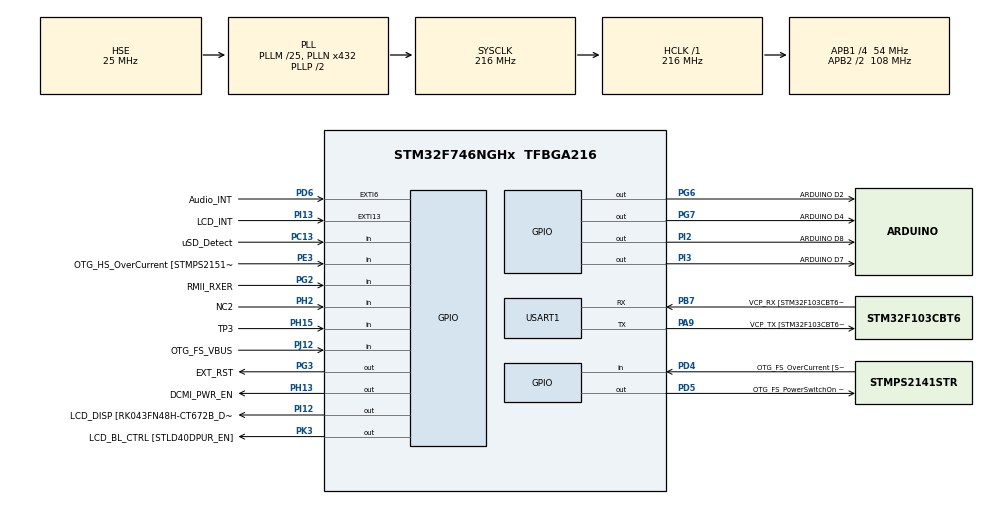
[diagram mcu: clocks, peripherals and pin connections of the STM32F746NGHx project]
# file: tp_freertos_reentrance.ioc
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FREERTOS.Tasks01=defaultTask,0,128,StartDefaultTask,Default,NULL,Dynamic,NULL,NULL
FREERTOS.configTOTAL_HEAP_SIZE=15300
Mcu.Family=STM32F7
Mcu.Name=STM32F746NGHx
Mcu.Package=TFBGA216
NVIC.PriorityGroup=NVIC_PRIORITYGROUP_4
PA0/WKUP.GPIO_Label=ARDUINO A0
PA0/WKUP.GPIO_Mode=GPIO_MODE_ANALOG
PA0/WKUP.GPIO_PuPd=GPIO_NOPULL
PA0/WKUP.Signal=ADCx_IN0
PA1.GPIO_Label=RMII_REF_CLK [LAN8742A-CZ-TR_REFCLK0]
PA1.Signal=ETH_REF_CLK
PA10.GPIO_Label=OTG_FS_ID
PA10.Signal=USB_OTG_FS_ID
PA11.GPIO_Label=OTG_FS_N
PA11.Signal=USB_OTG_FS_DM
PA12.GPIO_Label=OTG_FS_P
PA12.Signal=USB_OTG_FS_DP
PA13.GPIO_Label=SWDIO
PA13.Mode=Serial_Wire
PA13.Signal=SYS_JTMS-SWDIO
PA14.GPIO_Label=SWCLK
PA14.Mode=Serial_Wire
PA14.Signal=SYS_JTCK-SWCLK
PA15.GPIO_Label=ARDUINO PWM/D9
PA15.GPIO_ModeDefaultPP=GPIO_MODE_AF_PP
PA15.GPIO_PuPd=GPIO_NOPULL
PA15.GPIO_Speed=GPIO_SPEED_FREQ_LOW
PA15.Signal=S_TIM2_CH1_ETR
PA2.GPIO_Label=RMII_MDIO [LAN8742A-CZ-TR_MDIO]
PA2.Signal=ETH_MDIO
PA3.GPIO_Label=ULPI_D0 [USB3320C-EZK_D0]
PA3.Signal=USB_OTG_HS_ULPI_D0
PA4.GPIO_Label=DCMI_HSYNC
PA4.Signal=DCMI_HSYNC
PA5.GPIO_Label=ULPI_CLK [USB3320C-EZK_CLKOUT]
PA5.Signal=USB_OTG_HS_ULPI_CK
PA6.Signal=DCMI_PIXCLK
PA7.GPIO_Label=RMII_CRS_DV [LAN8742A-CZ-TR_CRS_DV]
PA7.Signal=ETH_CRS_DV
PA8.GPIO_Label=ARDUINO PWM/D10
PA8.GPIO_ModeDefaultPP=GPIO_MODE_AF_PP
PA8.GPIO_PuPd=GPIO_NOPULL
PA8.GPIO_Speed=GPIO_SPEED_FREQ_LOW
PA8.Signal=S_TIM1_CH1
PA9.GPIO_Label=VCP_TX [STM32F103CBT6_PA3]
PA9.GPIO_Mode=GPIO_MODE_AF_PP
PA9.GPIO_PuPd=GPIO_NOPULL
PA9.GPIO_Speed=GPIO_SPEED_FREQ_LOW
PA9.Mode=Asynchronous
PA9.Signal=USART1_TX
PB0.GPIO_Label=ULPI_D1 [USB3320C-EZK_D1]
PB0.Signal=USB_OTG_HS_ULPI_D1
PB1.GPIO_Label=ULPI_D2 [USB3320C-EZK_D2]
PB1.Signal=USB_OTG_HS_ULPI_D2
PB10.GPIO_Label=ULPI_D3 [USB3320C-EZK_D3]
PB10.Signal=USB_OTG_HS_ULPI_D3
PB11.GPIO_Label=ULPI_D4 [USB3320C-EZK_D4]
PB11.Signal=USB_OTG_HS_ULPI_D4
PB12.GPIO_Label=ULPI_D5 [USB3320C-EZK_D5]
PB12.Signal=USB_OTG_HS_ULPI_D5
PB13.GPIO_Label=ULPI_D6 [USB3320C-EZK_D6]
PB13.Signal=USB_OTG_HS_ULPI_D6
PB14.GPIO_Label=ARDUINO MISO/D12
PB14.GPIO_Mode=GPIO_MODE_AF_PP
PB14.GPIO_PuPd=GPIO_NOPULL
PB14.GPIO_Speed=GPIO_SPEED_FREQ_LOW
PB14.Signal=SPI2_MISO
PB15.GPIO_Label=ARDUINO MOSI/PWM/D11
PB15.GPIO_Mode=GPIO_MODE_AF_PP
PB15.GPIO_PuPd=GPIO_NOPULL
PB15.GPIO_Speed=GPIO_SPEED_FREQ_LOW
PB15.Signal=SPI2_MOSI
PB2.Signal=QUADSPI_CLK
PB3.GPIO_Label=SWO
PB3.Signal=SYS_JTDO-SWO
PB4.GPIO_Label=ARDUINO PWM/D3
PB4.GPIO_ModeDefaultPP=GPIO_MODE_AF_PP
PB4.GPIO_PuPd=GPIO_NOPULL
PB4.GPIO_Speed=GPIO_SPEED_FREQ_LOW
PB4.Signal=S_TIM3_CH1
PB5.GPIO_Label=ULPI_D7 [USB3320C-EZK_D7]
PB5.Signal=USB_OTG_HS_ULPI_D7
PB6.GPIO_Label=QSPI_NCS [N25Q128A13EF840E_S]
PB6.Signal=QUADSPI_BK1_NCS
PB7.GPIO_Label=VCP_RX [STM32F103CBT6_PA2]
PB7.GPIO_Mode=GPIO_MODE_AF_PP
PB7.GPIO_PuPd=GPIO_NOPULL
PB7.GPIO_Speed=GPIO_SPEED_FREQ_LOW
PB7.Mode=Asynchronous
PB7.Signal=USART1_RX
PB8.GPIO_Label=ARDUINO SCL/D15
PB8.GPIO_Mode=GPIO_MODE_AF_OD
PB8.GPIO_PuPd=GPIO_NOPULL
PB8.GPIO_Speed=GPIO_SPEED_FREQ_LOW
PB8.Signal=I2C1_SCL
PB9.GPIO_Label=ARDUINO SDA/D14
PB9.GPIO_Mode=GPIO_MODE_AF_OD
PB9.GPIO_PuPd=GPIO_NOPULL
PB9.GPIO_Speed=GPIO_SPEED_FREQ_LOW
PB9.Signal=I2C1_SDA
PC0.GPIO_Label=ULPI_STP [USB3320C-EZK_STP]
PC0.Signal=USB_OTG_HS_ULPI_STP
PC1.GPIO_Label=RMII_MDC [LAN8742A-CZ-TR_MDC]
PC1.Signal=ETH_MDC
PC10.GPIO_Label=SDMMC_D2
PC10.Signal=SDMMC1_D2
PC11.GPIO_Label=SDMMC_D3
PC11.Signal=SDMMC1_D3
PC12.GPIO_Label=SDMMC_CK
PC12.Signal=SDMMC1_CK
PC13.GPIO_Label=uSD_Detect
PC13.Signal=GPIO_Input
PC14/OSC32_IN.GPIO_Label=RCC_OSC32_IN
PC14/OSC32_IN.Signal=RCC_OSC32_IN
PC15/OSC32_OUT.GPIO_Label=RCC_OSC32_OUT
PC15/OSC32_OUT.Signal=RCC_OSC32_OUT
PC2.GPIO_Label=ULPI_DIR [USB3320C-EZK_DIR]
PC2.Signal=USB_OTG_HS_ULPI_DIR
PC3.GPIO_Label=FMC_SDCKE0 [MT48LC4M32B2B5-6A_CKE]
PC3.Signal=FMC_SDCKE0
PC4.GPIO_Label=RMII_RXD0 [LAN8742A-CZ-TR_RXD0]
PC4.Signal=ETH_RXD0
PC5.GPIO_Label=RMII_RXD1 [LAN8742A-CZ-TR_RXD1]
PC5.Signal=ETH_RXD1
PC6.GPIO_Label=ARDUINO TX/D1
PC6.Signal=USART6_TX
PC7.GPIO_Label=ARDUINO RX/D0
PC7.Signal=USART6_RX
PC8.Signal=SDMMC1_D0
PC9.Signal=SDMMC1_D1
PD0.GPIO_Label=FMC_D2 [MT48LC4M32B2B5-6A_DQ2]
PD0.Signal=FMC_D2_DA2
PD1.GPIO_Label=FMC_D3 [MT48LC4M32B2B5-6A_DQ3]
PD1.Signal=FMC_D3_DA3
PD10.GPIO_Label=FMC_D15 [MT48LC4M32B2B5-6A_DQ15]
PD10.Signal=FMC_D15_DA15
PD11.GPIO_Label=QSPI_D0 [N25Q128A13EF840E_DQ0]
PD11.Signal=QUADSPI_BK1_IO0
PD12.GPIO_Label=QSPI_D1 [N25Q128A13EF840E_DQ1]
PD12.Signal=QUADSPI_BK1_IO1
PD13.GPIO_Label=QSPI_D3 [N25Q128A13EF840E_DQ3]
PD13.Signal=QUADSPI_BK1_IO3
PD14.GPIO_Label=FMC_D0 [MT48LC4M32B2B5-6A_DQ0]
PD14.Signal=FMC_D0_DA0
PD15.GPIO_Label=FMC_D1 [MT48LC4M32B2B5-6A_DQ1]
PD15.Signal=FMC_D1_DA1
PD2.GPIO_Label=SDMMC_D0
PD2.Signal=SDMMC1_CMD
PD3.GPIO_Label=DCMI_D5
PD3.Signal=DCMI_D5
PD4.GPIO_Label=OTG_FS_OverCurrent [STMPS2141STR_Fault]
PD4.Signal=GPIO_Input
PD5.GPIO_Label=OTG_FS_PowerSwitchOn [STMPS2141STR_EN]
PD5.PinState=GPIO_PIN_SET
PD5.Signal=GPIO_Output
PD6.GPIO_Label=Audio_INT
PD6.GPIO_ModeDefaultEXTI=GPIO_MODE_EVT_RISING
PD6.Signal=GPXTI6
PD7.GPIO_Label=SPDIF_RX0 [74LVC1G04SE_4]
PD7.Signal=SPDIFRX_IN0
PD8.GPIO_Label=FMC_D13 [MT48LC4M32B2B5-6A_DQ13]
PD8.Signal=FMC_D13_DA13
PD9.GPIO_Label=FMC_D14 [MT48LC4M32B2B5-6A_DQ14]
PD9.Signal=FMC_D14_DA14
PE0.GPIO_Label=FMC_NBL0 [MT48LC4M32B2B5-6A_DQM0]
PE0.Signal=FMC_NBL0
PE1.GPIO_Label=FMC_NBL1 [MT48LC4M32B2B5-6A_DQM1]
PE1.Signal=FMC_NBL1
PE10.GPIO_Label=FMC_D7 [MT48LC4M32B2B5-6A_DQ7]
PE10.Signal=FMC_D7_DA7
PE11.GPIO_Label=FMC_D8 [MT48LC4M32B2B5-6A_DQ8]
PE11.Signal=FMC_D8_DA8
PE12.GPIO_Label=FMC_D9 [MT48LC4M32B2B5-6A_DQ9]
PE12.Signal=FMC_D9_DA9
PE13.GPIO_Label=FMC_D10 [MT48LC4M32B2B5-6A_DQ10]
PE13.Signal=FMC_D10_DA10
PE14.GPIO_Label=FMC_D11 [MT48LC4M32B2B5-6A_DQ11]
PE14.Signal=FMC_D11_DA11
PE15.GPIO_Label=FMC_D12 [MT48LC4M32B2B5-6A_DQ12]
PE15.Signal=FMC_D12_DA12
PE2.GPIO_Label=QSPI_D2 [N25Q128A13EF840E_DQ2]
PE2.Signal=QUADSPI_BK1_IO2
PE3.GPIO_Label=OTG_HS_OverCurrent [STMPS2151STR_FAULT]
PE3.Signal=GPIO_Input
PE4.GPIO_Label=LCD_B0 [RK043FN48H-CT672B_B0]
PE4.Signal=LTDC_B0
PE5.GPIO_Label=DCMI_D6
PE5.Signal=DCMI_D6
PE6.GPIO_Label=DCMI_D7
PE6.Signal=DCMI_D7
PE7.GPIO_Label=FMC_D4 [MT48LC4M32B2B5-6A_DQ4]
PE7.Signal=FMC_D4_DA4
PE8.GPIO_Label=FMC_D5 [MT48LC4M32B2B5-6A_DQ5]
PE8.Signal=FMC_D5_DA5
PE9.GPIO_Label=FMC_D6 [MT48LC4M32B2B5-6A_DQ6]
PE9.Signal=FMC_D6_DA6
PF0.GPIO_Label=FMC_A0 [MT48LC4M32B2B5-6A_A0]
PF0.Signal=FMC_A0
PF1.GPIO_Label=FMC_A1 [MT48LC4M32B2B5-6A_A1]
PF1.Signal=FMC_A1
PF10.GPIO_Label=ARDUINO A1
PF10.GPIO_Mode=GPIO_MODE_ANALOG
PF10.GPIO_PuPd=GPIO_NOPULL
PF10.Signal=ADC3_IN8
PF11.GPIO_Label=FMC_SDNRAS [MT48LC4M32B2B5-6A_RAS]
PF11.Signal=FMC_SDNRAS
PF12.GPIO_Label=FMC_A6 [MT48LC4M32B2B5-6A_A6]
PF12.Signal=FMC_A6
PF13.GPIO_Label=FMC_A7 [MT48LC4M32B2B5-6A_A7]
PF13.Signal=FMC_A7
PF14.GPIO_Label=FMC_A8 [MT48LC4M32B2B5-6A_A8]
PF14.Signal=FMC_A8
PF15.GPIO_Label=FMC_A9 [MT48LC4M32B2B5-6A_A9]
PF15.Signal=FMC_A9
PF2.GPIO_Label=FMC_A2 [MT48LC4M32B2B5-6A_A2]
PF2.Signal=FMC_A2
PF3.GPIO_Label=FMC_A3 [MT48LC4M32B2B5-6A_A3]
PF3.Signal=FMC_A3
PF4.GPIO_Label=FMC_A4 [MT48LC4M32B2B5-6A_A4]
PF4.Signal=FMC_A4
PF5.GPIO_Label=FMC_A5 [MT48LC4M32B2B5-6A_A5]
PF5.Signal=FMC_A5
PF6.GPIO_Label=ARDUINO A5
PF6.GPIO_Mode=GPIO_MODE_ANALOG
PF6.GPIO_PuPd=GPIO_NOPULL
PF6.Signal=ADC3_IN4
PF7.GPIO_Label=ARDUINO A4
PF7.GPIO_Mode=GPIO_MODE_ANALOG
PF7.GPIO_PuPd=GPIO_NOPULL
PF7.Signal=ADC3_IN5
PF8.GPIO_Label=ARDUINO A3
PF8.GPIO_Mode=GPIO_MODE_ANALOG
PF8.GPIO_PuPd=GPIO_NOPULL
PF8.Signal=ADC3_IN6
PF9.GPIO_Label=ARDUINO A2
PF9.GPIO_Mode=GPIO_MODE_ANALOG
PF9.GPIO_PuPd=GPIO_NOPULL
PF9.Signal=ADC3_IN7
PG0.GPIO_Label=FMC_A10 [MT48LC4M32B2B5-6A_A10]
PG0.Signal=FMC_A10
PG1.GPIO_Label=FMC_A11 [MT48LC4M32B2B5-6A_A11]
PG1.Signal=FMC_A11
PG10.GPIO_Label=SAI2_SDB [WM8994ECS/R_ADCDAT1]
PG10.Signal=SAI2_SD_B
PG11.GPIO_Label=RMII_TX_EN [LAN8742A-CZ-TR_TXEN]
PG11.Signal=ETH_TX_EN
PG12.GPIO_Label=LCD_B4 [RK043FN48H-CT672B_B4]
PG12.Signal=LTDC_B4
PG13.GPIO_Label=RMII_TXD0 [LAN8742A-CZ-TR_TXD0]
PG13.Signal=ETH_TXD0
PG14.GPIO_Label=RMII_TXD1 [LAN8742A-CZ-TR_TXD1]
PG14.Signal=ETH_TXD1
PG15.GPIO_Label=FMC_SDNCAS [MT48LC4M32B2B5-6A_CAS]
PG15.Signal=FMC_SDNCAS
PG2.GPIO_Label=RMII_RXER
PG2.Signal=GPIO_Input
PG3.GPIO_Label=EXT_RST
PG3.Signal=GPIO_Output
PG4.GPIO_Label=FMC_BA0 [MT48LC4M32B2B5-6A_BA0]
PG4.Signal=FMC_A14_BA0
PG5.GPIO_Label=FMC_BA1 [MT48LC4M32B2B5-6A_BA1]
PG5.Signal=FMC_A15_BA1
PG6.GPIO_Label=ARDUINO D2
PG6.Signal=GPIO_Output
PG7.GPIO_Label=ARDUINO D4
PG7.Signal=GPIO_Output
PG8.GPIO_Label=FMC_SDCLK [MT48LC4M32B2B5-6A_CLK]
PG8.Signal=FMC_SDCLK
PG9.GPIO_Label=DCMI_VSYNC
PG9.Signal=DCMI_VSYNC
PH0/OSC_IN.GPIO_Label=OSC_25M [NZ2520SB-25.00M_OUT]
PH0/OSC_IN.Mode=HSE-External-Oscillator
PH0/OSC_IN.Signal=RCC_OSC_IN
PH1/OSC_OUT.Mode=HSE-External-Oscillator
PH1/OSC_OUT.Signal=RCC_OSC_OUT
PH10.GPIO_Label=DCMI_D1
PH10.Signal=DCMI_D1
PH11.GPIO_Label=DCMI_D2
PH11.Signal=DCMI_D2
PH12.GPIO_Label=DCMI_D3
PH12.Signal=DCMI_D3
PH13.GPIO_Label=DCMI_PWR_EN
PH13.Signal=GPIO_Output
PH14.GPIO_Label=DCMI_D4
PH14.Signal=DCMI_D4
PH15.GPIO_Label=TP3
PH15.Signal=GPIO_Input
PH2.GPIO_Label=NC2
PH2.Signal=GPIO_Input
PH3.GPIO_Label=FMC_SDNE0 [MT48LC4M32B2B5-6A_CS]
PH3.Signal=FMC_SDNE0
PH4.GPIO_Label=ULPI_NXT [USB3320C-EZK_NXT]
PH4.Signal=USB_OTG_HS_ULPI_NXT
PH5.GPIO_Label=FMC_SDNME [MT48LC4M32B2B5-6A_WE]
PH5.Signal=FMC_SDNWE
PH6.GPIO_Label=ARDUINO PWM/D6
PH6.Signal=S_TIM12_CH1
PH7.GPIO_Label=LCD_SCL [RK043FN48H-CT672B_SCL]
PH7.Signal=I2C3_SCL
PH8.GPIO_Label=LCD_SDA [RK043FN48H-CT672B_SDA]
PH8.Signal=I2C3_SDA
PH9.GPIO_Label=DCMI_D0
PH9.Signal=DCMI_D0
PI0.GPIO_Label=ARDUINO PWM/CS/D5
PI0.GPIO_ModeDefaultPP=GPIO_MODE_AF_PP
PI0.GPIO_PuPd=GPIO_NOPULL
PI0.GPIO_Speed=GPIO_SPEED_FREQ_LOW
PI0.Signal=S_TIM5_CH4
PI1.GPIO_Label=ARDUINO SCK/D13
PI1.GPIO_Mode=GPIO_MODE_AF_PP
PI1.GPIO_PuPd=GPIO_NOPULL
PI1.GPIO_Speed=GPIO_SPEED_FREQ_LOW
PI1.Signal=SPI2_SCK
PI10.GPIO_Label=LCD_HSYNC [RK043FN48H-CT672B_HSYNC]
PI10.Signal=LTDC_HSYNC
PI12.GPIO_Label=LCD_DISP [RK043FN48H-CT672B_DISP] 
PI12.Signal=GPIO_Output
PI13.GPIO_Label=LCD_INT
PI13.GPIO_ModeDefaultEXTI=GPIO_MODE_EVT_RISING
PI13.Signal=GPXTI13
PI14.GPIO_Label=LCD_CLK [RK043FN48H-CT672B_CLK]
PI14.Signal=LTDC_CLK
PI15.GPIO_Label=LCD_R0 [RK043FN48H-CT672B_R0]
PI15.Signal=LTDC_R0
PI2.GPIO_Label=ARDUINO D8
PI2.Signal=GPIO_Output
PI3.GPIO_Label=ARDUINO D7
PI3.Signal=GPIO_Output
PI4.GPIO_Label=SAI2_MCLKA [WM8994ECS/R_MCLK1]
PI4.Signal=SAI2_MCLK_A
PI5.GPIO_Label=SAI2_SCKA [WM8994ECS/R_BCLK1]
PI5.Signal=SAI2_SCK_A
PI6.GPIO_Label=SAI2_SDA [WM8994ECS/R_DACDAT1]
PI6.Signal=SAI2_SD_A
PI7.GPIO_Label=SAI2_FSA [WM8994ECS/R_LRCLK1]
PI7.Signal=SAI2_FS_A
PI8.GPIO_Label=NC1 [TP2]
PI8.Signal=RTC_TS
PI9.GPIO_Label=LCD_VSYNC [RK043FN48H-CT672B_VSYNC]
PI9.Signal=LTDC_VSYNC
PJ0.GPIO_Label=LCD_R1 [RK043FN48H-CT672B_R1]
PJ0.Signal=LTDC_R1
PJ1.GPIO_Label=LCD_R2 [RK043FN48H-CT672B_R2]
PJ1.Signal=LTDC_R2
PJ10.GPIO_Label=LCD_G3 [RK043FN48H-CT672B_G3]
PJ10.Signal=LTDC_G3
PJ11.GPIO_Label=LCD_G4 [RK043FN48H-CT672B_G4]
PJ11.Signal=LTDC_G4
PJ12.GPIO_Label=OTG_FS_VBUS
PJ12.Signal=GPIO_Input
PJ13.GPIO_Label=LCD_B1 [RK043FN48H-CT672B_B1]
PJ13.Signal=LTDC_B1
PJ14.GPIO_Label=LCD_B2 [RK043FN48H-CT672B_B2]
PJ14.Signal=LTDC_B2
PJ15.GPIO_Label=LCD_B3 [RK043FN48H-CT672B_B3]
PJ15.Signal=LTDC_B3
PJ2.GPIO_Label=LCD_R3 [RK043FN48H-CT672B_R3]
PJ2.Signal=LTDC_R3
PJ3.GPIO_Label=LCD_R4 [RK043FN48H-CT672B_R4]
PJ3.Signal=LTDC_R4
PJ4.GPIO_Label=LCD_R5 [RK043FN48H-CT672B_R5]
PJ4.Signal=LTDC_R5
PJ5.GPIO_Label=LCD_R6 [RK043FN48H-CT672B_R6]
PJ5.Signal=LTDC_R6
PJ6.GPIO_Label=LCD_R7 [RK043FN48H-CT672B_R7]
PJ6.Signal=LTDC_R7
PJ7.GPIO_Label=LCD_G0 [RK043FN48H-CT672B_G0]
PJ7.Signal=LTDC_G0
PJ8.GPIO_Label=LCD_G1 [RK043FN48H-CT672B_G1]
PJ8.Signal=LTDC_G1
PJ9.GPIO_Label=LCD_G2 [RK043FN48H-CT672B_G2]
PJ9.Signal=LTDC_G2
PK0.GPIO_Label=LCD_G5 [RK043FN48H-CT672B_G5]
PK0.Signal=LTDC_G5
PK1.GPIO_Label=LCD_G6 [RK043FN48H-CT672B_G6]
PK1.Signal=LTDC_G6
PK2.GPIO_Label=LCD_G7 [RK043FN48H-CT672B_G7]
PK2.Signal=LTDC_G7
PK3.GPIO_Label=LCD_BL_CTRL [STLD40DPUR_EN]
PK3.Signal=GPIO_Output
PK4.GPIO_Label=LCD_B5 [RK043FN48H-CT672B_B5]
PK4.Signal=LTDC_B5
PK5.GPIO_Label=LCD_B6 [RK043FN48H-CT672B_B6]
PK5.Signal=LTDC_B6
PK6.GPIO_Label=LCD_B7 [RK043FN48H-CT672B_B7]
PK6.Signal=LTDC_B7
PK7.GPIO_Label=LCD_DE [RK043FN48H-CT672B_DE]
PK7.Signal=LTDC_DE
ProjectManager.HeapSize=0x200
ProjectManager.StackSize=0x400
ProjectManager.TargetToolchain=STM32CubeIDE
RCC.AHBFreq_Value=216000000
RCC.APB1CLKDivider=RCC_HCLK_DIV4
RCC.APB1Freq_Value=54000000
RCC.APB1TimFreq_Value=108000000
RCC.APB2CLKDivider=RCC_HCLK_DIV2
RCC.APB2Freq_Value=108000000
RCC.APB2TimFreq_Value=216000000
RCC.CortexFreq_Value=216000000
RCC.HCLKFreq_Value=216000000
RCC.HSE_VALUE=25000000
RCC.HSI_VALUE=16000000
RCC.LSE_VALUE=32768
RCC.PLLM=25
RCC.PLLN=432
RCC.PLLSourceVirtual=RCC_PLLSOURCE_HSE
RCC.SYSCLKFreq_VALUE=216000000
RCC.SYSCLKSource=RCC_SYSCLKSOURCE_PLLCLK
RCC.USBFreq_Value=216000000
RCC.VCOOutputFreq_Value=432000000
SH.ADCx_IN0.0=ADC3_IN0
SH.FMC_A0.0=FMC_A0
SH.FMC_A1.0=FMC_A1
SH.FMC_A10.0=FMC_A10
SH.FMC_A11.0=FMC_A11
SH.FMC_A14_BA0.0=FMC_BA0
SH.FMC_A15_BA1.0=FMC_BA1
SH.FMC_A2.0=FMC_A2
SH.FMC_A3.0=FMC_A3
SH.FMC_A4.0=FMC_A4
SH.FMC_A5.0=FMC_A5
SH.FMC_A6.0=FMC_A6
SH.FMC_A7.0=FMC_A7
SH.FMC_A8.0=FMC_A8
SH.FMC_A9.0=FMC_A9
SH.FMC_D0_DA0.0=FMC_D0
SH.FMC_D10_DA10.0=FMC_D10
SH.FMC_D11_DA11.0=FMC_D11
SH.FMC_D12_DA12.0=FMC_D12
SH.FMC_D13_DA13.0=FMC_D13
SH.FMC_D14_DA14.0=FMC_D14
SH.FMC_D15_DA15.0=FMC_D15
SH.FMC_D1_DA1.0=FMC_D1
SH.FMC_D2_DA2.0=FMC_D2
SH.FMC_D3_DA3.0=FMC_D3
SH.FMC_D4_DA4.0=FMC_D4
SH.FMC_D5_DA5.0=FMC_D5
SH.FMC_D6_DA6.0=FMC_D6
SH.FMC_D7_DA7.0=FMC_D7
SH.FMC_D8_DA8.0=FMC_D8
SH.FMC_D9_DA9.0=FMC_D9
SH.FMC_NBL0.0=FMC_NBL0
SH.FMC_NBL1.0=FMC_NBL1
SH.FMC_SDCLK.0=FMC_SDCLK
SH.FMC_SDNCAS.0=FMC_SDNCAS
SH.FMC_SDNRAS.0=FMC_SDNRAS
SH.FMC_SDNWE.0=FMC_SDNWE
SH.S_TIM12_CH1.0=TIM12_CH1
SH.S_TIM1_CH1.0=TIM1_CH1
SH.S_TIM2_CH1_ETR.0=TIM2_CH1
SH.S_TIM3_CH1.0=TIM3_CH1
SH.S_TIM5_CH4.0=TIM5_CH4
USART1.VirtualMode-Asynchronous=VM_ASYNC
VP_FREERTOS_VS_CMSIS_V1.Mode=CMSIS_V1
board=STM32F746G-DISCO

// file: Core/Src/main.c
/* USER CODE BEGIN Header */
/**
 ******************************************************************************
 * @file           : main.c
 * @brief          : Main program body
 ******************************************************************************
 * @attention
 *
 * Copyright (c) 2022 STMicroelectronics.
 * All rights reserved.
 *
 * This software is licensed under terms that can be found in the LICENSE file
 * in the root directory of this software component.
 * If no LICENSE file comes with this software, it is provided AS-IS.
 *
 ******************************************************************************
 */
/* USER CODE END Header */
#include "main.h"
#include "cmsis_os.h"
#include "usart.h"
#include "gpio.h"

/* USER CODE BEGIN Includes */
#include <stdio.h>
/* USER CODE END Includes */

/* USER CODE BEGIN PD */
#define STACK_SIZE 256

#define TASK1_PRIORITY 1
#define TASK2_PRIORITY 2

#define TASK1_DELAY 1
#define TASK2_DELAY 2
SemaphoreHandle_t mutex = NULL;

/* USER CODE END PD */

void SystemClock_Config(void);
void MX_FREERTOS_Init(void);

/* USER CODE BEGIN 0 */
int __io_putchar(int ch)
{
	HAL_UART_Transmit(&huart1, (uint8_t *)&ch, 1, HAL_MAX_DELAY);
	return ch;
}

void task1(void * pvParameters)
{
	int delay = (int) pvParameters;

	for(;;)
	{
		if (xSemaphoreTake(mutex, portMAX_DELAY) == pdTRUE) {
			printf("Je suis la tache 1 et je m'endors pour %d ticks\r\n", delay);
			vTaskDelay(delay);
			xSemaphoreGive(mutex);
		}
	}
}

void task2(void * pvParameters)
{
	int delay = (int) pvParameters;

	for(;;)
	{
		if (xSemaphoreTake(mutex, portMAX_DELAY) == pdTRUE) {
			printf("Je suis la tache 2 et je m'endors pour %d ticks\r\n", delay);
			vTaskDelay(delay);
			xSemaphoreGive(mutex);
		}
	}
}
/* USER CODE END 0 */

int main(void)
{

	/* MCU Configuration--------------------------------------------------------*/

	/* Reset of all peripherals, Initializes the Flash interface and the Systick. */
	HAL_Init();

	/* Configure the system clock */
	SystemClock_Config();

	/* Initialize all configured peripherals */
	MX_GPIO_Init();
	MX_USART1_UART_Init();
	/* USER CODE BEGIN 2 */
	BaseType_t ret;
	TaskHandle_t h_task1 = NULL;
	TaskHandle_t h_task2 = NULL;

	/* Create the task, storing the handle. */
	mutex = xSemaphoreCreateMutex();
    if (mutex == NULL)
    {
        printf("Error Mutex\r\n");
		Error_Handler();
    }

	ret = xTaskCreate(task1, "Tache 1", STACK_SIZE, (void *) TASK1_DELAY, TASK1_PRIORITY, &h_task1);
	configASSERT(pdPASS == ret);
	ret = xTaskCreate(task2, "Tache 2", STACK_SIZE, (void *) TASK2_DELAY, TASK2_PRIORITY, &h_task2);
	configASSERT(pdPASS == ret);

	vTaskStartScheduler();
	/* USER CODE END 2 */

	/* Call init function for freertos objects (in freertos.c) */
	MX_FREERTOS_Init();

	/* Start scheduler */
	osKernelStart();

	/* We should never get here as control is now taken by the scheduler */
	/* Infinite loop */
	while (1)
	{

	}
}

void SystemClock_Config(void)
{
	RCC_OscInitTypeDef RCC_OscInitStruct = {0};
	RCC_ClkInitTypeDef RCC_ClkInitStruct = {0};

	/** Configure the main internal regulator output voltage
	 */
	__HAL_RCC_PWR_CLK_ENABLE();
	__HAL_PWR_VOLTAGESCALING_CONFIG(PWR_REGULATOR_VOLTAGE_SCALE1);

	/** Initializes the RCC Oscillators according to the specified parameters
	 * in the RCC_OscInitTypeDef structure.
	 */
	RCC_OscInitStruct.OscillatorType = RCC_OSCILLATORTYPE_HSE;
	RCC_OscInitStruct.HSEState = RCC_HSE_ON;
	RCC_OscInitStruct.PLL.PLLState = RCC_PLL_ON;
	RCC_OscInitStruct.PLL.PLLSource = RCC_PLLSOURCE_HSE;
	RCC_OscInitStruct.PLL.PLLM = 25;
	RCC_OscInitStruct.PLL.PLLN = 432;
	RCC_OscInitStruct.PLL.PLLP = RCC_PLLP_DIV2;
	RCC_OscInitStruct.PLL.PLLQ = 2;
	if (HAL_RCC_OscConfig(&RCC_OscInitStruct) != HAL_OK)
	{
		Error_Handler();
	}

	/** Activate the Over-Drive mode
	 */
	if (HAL_PWREx_EnableOverDrive() != HAL_OK)
	{
		Error_Handler();
	}

	/** Initializes the CPU, AHB and APB buses clocks
	 */
	RCC_ClkInitStruct.ClockType = RCC_CLOCKTYPE_HCLK|RCC_CLOCKTYPE_SYSCLK
			|RCC_CLOCKTYPE_PCLK1|RCC_CLOCKTYPE_PCLK2;
	RCC_ClkInitStruct.SYSCLKSource = RCC_SYSCLKSOURCE_PLLCLK;
	RCC_ClkInitStruct.AHBCLKDivider = RCC_SYSCLK_DIV1;
	RCC_ClkInitStruct.APB1CLKDivider = RCC_HCLK_DIV4;
	RCC_ClkInitStruct.APB2CLKDivider = RCC_HCLK_DIV2;

	if (HAL_RCC_ClockConfig(&RCC_ClkInitStruct, FLASH_LATENCY_7) != HAL_OK)
	{
		Error_Handler();
	}
}

void Error_Handler(void)
{
	__disable_irq();
	while (1)
	{
	}
}
